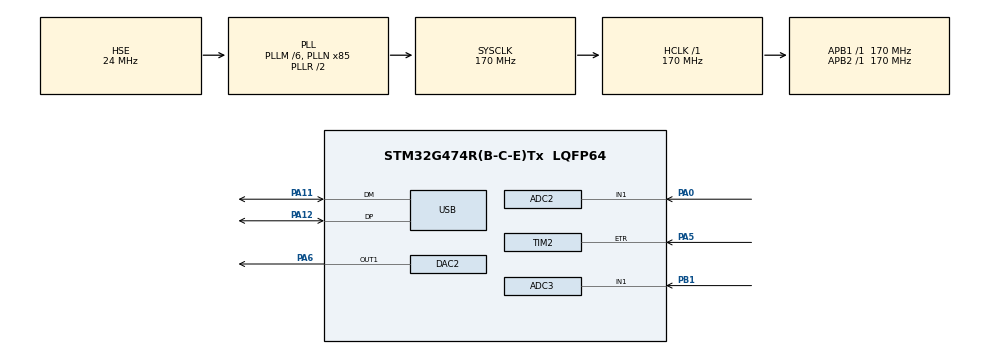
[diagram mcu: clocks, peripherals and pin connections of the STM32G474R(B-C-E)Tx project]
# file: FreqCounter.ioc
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ADC2.Channel-1\#ChannelRegularConversion=ADC_CHANNEL_1
ADC2.ContinuousConvMode=ENABLE
ADC2.DMAContinuousRequests=ENABLE
ADC2.EOCSelection=ADC_EOC_SEQ_CONV
ADC2.NbrOfConversion=1
ADC2.NbrOfConversionFlag=1
ADC2.OffsetNumber-1\#ChannelRegularConversion=ADC_OFFSET_NONE
ADC2.Rank-1\#ChannelRegularConversion=1
ADC2.SamplingTime-1\#ChannelRegularConversion=ADC_SAMPLETIME_12CYCLES_5
ADC3.Channel-2\#ChannelRegularConversion=ADC_CHANNEL_1
ADC3.ContinuousConvMode=ENABLE
ADC3.DMAContinuousRequests=ENABLE
ADC3.EOCSelection=ADC_EOC_SEQ_CONV
ADC3.NbrOfConversionFlag=1
ADC3.OffsetNumber-2\#ChannelRegularConversion=ADC_OFFSET_NONE
ADC3.Rank-2\#ChannelRegularConversion=1
ADC3.SamplingTime-2\#ChannelRegularConversion=ADC_SAMPLETIME_2CYCLES_5
ADC3.master=1
Dma.ADC2.0.Direction=DMA_PERIPH_TO_MEMORY
Dma.ADC2.0.EventEnable=DISABLE
Dma.ADC2.0.Instance=DMA1_Channel1
Dma.ADC2.0.MemDataAlignment=DMA_MDATAALIGN_WORD
Dma.ADC2.0.MemInc=DMA_MINC_ENABLE
Dma.ADC2.0.Mode=DMA_CIRCULAR
Dma.ADC2.0.PeriphDataAlignment=DMA_PDATAALIGN_WORD
Dma.ADC2.0.PeriphInc=DMA_PINC_DISABLE
Dma.ADC2.0.Polarity=HAL_DMAMUX_REQ_GEN_RISING
Dma.ADC2.0.Priority=DMA_PRIORITY_LOW
Dma.ADC2.0.RequestNumber=1
Dma.ADC2.0.SignalID=NONE
Dma.ADC2.0.SyncEnable=DISABLE
Dma.ADC2.0.SyncPolarity=HAL_DMAMUX_SYNC_NO_EVENT
Dma.ADC2.0.SyncRequestNumber=1
Dma.ADC2.0.SyncSignalID=NONE
Dma.ADC3.1.Direction=DMA_PERIPH_TO_MEMORY
Dma.ADC3.1.EventEnable=DISABLE
Dma.ADC3.1.Instance=DMA1_Channel2
Dma.ADC3.1.MemDataAlignment=DMA_MDATAALIGN_HALFWORD
Dma.ADC3.1.MemInc=DMA_MINC_ENABLE
Dma.ADC3.1.Mode=DMA_CIRCULAR
Dma.ADC3.1.PeriphDataAlignment=DMA_PDATAALIGN_HALFWORD
Dma.ADC3.1.PeriphInc=DMA_PINC_DISABLE
Dma.ADC3.1.Polarity=HAL_DMAMUX_REQ_GEN_RISING
Dma.ADC3.1.Priority=DMA_PRIORITY_LOW
Dma.ADC3.1.RequestNumber=1
Dma.ADC3.1.SignalID=NONE
Dma.ADC3.1.SyncEnable=DISABLE
Dma.ADC3.1.SyncPolarity=HAL_DMAMUX_SYNC_NO_EVENT
Dma.ADC3.1.SyncRequestNumber=1
Dma.ADC3.1.SyncSignalID=NONE
Dma.Request0=ADC2
Dma.Request1=ADC3
Mcu.Family=STM32G4
Mcu.Name=STM32G474R(B-C-E)Tx
Mcu.Package=LQFP64
NVIC.DMA1_Channel1_IRQn=true\:0\:0\:false\:false\:true\:false\:true\:true
NVIC.DMA1_Channel2_IRQn=true\:0\:0\:false\:false\:true\:false\:true\:true
NVIC.PriorityGroup=NVIC_PRIORITYGROUP_4
NVIC.TIM5_IRQn=true\:0\:0\:false\:false\:true\:true\:true\:true
NVIC.USB_LP_IRQn=true\:0\:0\:false\:false\:true\:false\:true\:true
PA0.Mode=IN1-Single-Ended
PA0.Signal=ADC2_IN1
PA11.Mode=Device
PA11.Signal=USB_DM
PA12.Mode=Device
PA12.Signal=USB_DP
PA5.Signal=S_TIM2_ETR
PA6.Signal=COMP_DAC21_group
PB1.Mode=IN1-Single-Ended
PB1.Signal=ADC3_IN1
PF0-OSC_IN.Mode=HSE-External-Oscillator
PF0-OSC_IN.Signal=RCC_OSC_IN
PF1-OSC_OUT.Mode=HSE-External-Oscillator
PF1-OSC_OUT.Signal=RCC_OSC_OUT
ProjectManager.HeapSize=0x200
ProjectManager.StackSize=0x400
ProjectManager.TargetToolchain=STM32CubeIDE
RCC.ADC12Freq_Value=170000000
RCC.ADC345Freq_Value=170000000
RCC.AHBFreq_Value=170000000
RCC.APB1Freq_Value=170000000
RCC.APB1TimFreq_Value=170000000
RCC.APB2Freq_Value=170000000
RCC.APB2TimFreq_Value=170000000
RCC.CK48CLockSelection=RCC_USBCLKSOURCE_HSI48
RCC.CortexFreq_Value=170000000
RCC.EXTERNAL_CLOCK_VALUE=12288000
RCC.HCLKFreq_Value=170000000
RCC.HSE_VALUE=24000000
RCC.HSI48_VALUE=48000000
RCC.HSI_VALUE=16000000
RCC.LSE_VALUE=32768
RCC.PLLM=RCC_PLLM_DIV6
RCC.PLLN=85
RCC.PLLSourceVirtual=RCC_PLLSOURCE_HSE
RCC.SYSCLKFreq_VALUE=170000000
RCC.SYSCLKSource=RCC_SYSCLKSOURCE_PLLCLK
RCC.USBFreq_Value=48000000
RCC.VCOOutputFreq_Value=340000000
SH.COMP_DAC21_group.0=DAC2_OUT1,DAC_OUT1
SH.S_TIM2_ETR.0=TIM2_ETR,ClockSourceETR_Mode2
TIM5.PeriodNoDither=170000000
USB_DEVICE.CLASS_NAME_FS=CDC
USB_DEVICE.VirtualMode=Cdc
USB_DEVICE.VirtualModeFS=Cdc_FS
VP_TIM5_VS_ClockSourceINT.Mode=Internal
VP_USB_DEVICE_VS_USB_DEVICE_CDC_FS.Mode=CDC_FS
board=custom

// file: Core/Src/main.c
/* USER CODE BEGIN Header */
/**
  ******************************************************************************
  * @file           : main.c
  * @brief          : Main program body
  ******************************************************************************
  * @attention
  *
  * Copyright (c) 2023 STMicroelectronics.
  * All rights reserved.
  *
  * This software is licensed under terms that can be found in the LICENSE file
  * in the root directory of this software component.
  * If no LICENSE file comes with this software, it is provided AS-IS.
  *
  ******************************************************************************
  */
/* USER CODE END Header */
#include "main.h"
#include "usb_device.h"

/* USER CODE BEGIN Includes */
#include "usbd_cdc_if.h"

#include "stm32g4xx_hal.h"
#include <string.h>
#include <stdio.h>
/* USER CODE END Includes */

/* USER CODE BEGIN PD */

#define ADC_BUFF 7000
//#define AVG_ARRAY_SIZE 100

/* USER CODE END PD */

ADC_HandleTypeDef hadc2;
ADC_HandleTypeDef hadc3;
DMA_HandleTypeDef hdma_adc2;
DMA_HandleTypeDef hdma_adc3;

DAC_HandleTypeDef hdac2;

TIM_HandleTypeDef htim2;
TIM_HandleTypeDef htim5;

/* USER CODE BEGIN PV */
volatile uint32_t squareWaveFrequency = 0;
__IO uint32_t ADCVal[ADC_BUFF];
__IO uint16_t ADC3Val[ADC_BUFF];
//float allAvg[AVG_ARRAY_SIZE];
float ADCAvg;
float ADC3Avg;
float voltageValue;
__IO uint8_t ADC_done;
__IO uint8_t ADC3_done;
__IO uint8_t TIM5_done;
int16_t DAC_Value;
//uint32_t avg_index;
uint8_t init_values[8]= {0};
uint32_t error;

/* USER CODE END PV */

void SystemClock_Config(void);
static void MX_GPIO_Init(void);
static void MX_DMA_Init(void);
static void MX_TIM2_Init(void);
static void MX_TIM5_Init(void);
static void MX_ADC2_Init(void);
static void MX_DAC2_Init(void);
static void MX_ADC3_Init(void);
/* USER CODE BEGIN PFP */
void HAL_TIM_PeriodElapsedCallback(TIM_HandleTypeDef *htim);
static float ADC_avg(uint32_t *values);
static float ADC_avg3(uint16_t *values);
//static float Avg_avg(uint32_t *values);
//void HAL_TIM_IC_CaptureCallback(TIM_HandleTypeDef *htim);
/* USER CODE END PFP */

int main(void)
{

  /* MCU Configuration--------------------------------------------------------*/

  /* Reset of all peripherals, Initializes the Flash interface and the Systick. */
  HAL_Init();

  /* Configure the system clock */
  SystemClock_Config();

  /* Initialize all configured peripherals */
  MX_GPIO_Init();
  MX_DMA_Init();
  MX_TIM2_Init();
  MX_TIM5_Init();
  MX_ADC2_Init();
  MX_USB_Device_Init();
  MX_DAC2_Init();
  MX_ADC3_Init();
  /* USER CODE BEGIN 2 */

  HAL_TIM_Base_Start_IT(&htim5);
  HAL_TIM_Base_Start(&htim2);
  ADC_done = 0;
  ADC3_done = 0;
  TIM5_done = 0;
  ADCAvg = 0;
  ADC3Avg = 0;
  voltageValue = 0;
  error=0;
//  avg_index = 0;
//  Avg_avg(allAvg);

  //countUp = 0;

  HAL_DAC_Start(&hdac2, DAC_CHANNEL_1);
  HAL_ADC_Start_DMA(&hadc2, (uint32_t*)ADCVal, ADC_BUFF);
  if (HAL_ADC_Start_DMA(&hadc3, (uint16_t*)ADC3Val, ADC_BUFF)!=HAL_OK)
	  error=3;
  /* USER CODE END 2 */

  /* Infinite loop */
  while (1)
  {

    /* USER CODE BEGIN 3 */

	  // Callibrate and Send
	if (receivedValue==4100){
		DAC_Value = (2/3.3)*4095;
		HAL_DAC_SetValue(&hdac2, DAC_CHANNEL_1, DAC_ALIGN_12B_R, (uint32_t)DAC_Value);
		do{
			receivedValue = 0;
			  // process ADC data
			if (ADC_done){
				ADC_done = 0;
				ADCAvg = ADC_avg(ADCVal);
				DAC_Value += (2048-ADCAvg)/10;
				//DAC_Value += (2048-DAC_Value)/10;
				HAL_DAC_SetValue(&hdac2, DAC_CHANNEL_1, DAC_ALIGN_12B_R, (uint32_t)DAC_Value);
				HAL_ADC_Start_DMA(&hadc2, (uint32_t*)ADCVal, ADC_BUFF);
			}
		} while(ADCAvg<2040 || ADCAvg>2056);

		for (uint i = 0; i<2; i++){
			init_values[i] = (uint8_t)((DAC_Value >> (8*i)) & 0xFF);
		}
		uint8_t *bytes = (uint8_t *)&ADCAvg;
		for (uint i = 0; i < 4; i++) {
				init_values[i+4] = bytes[i];
		}
		if (ADCAvg>2040 && ADCAvg<2056){
			CDC_Transmit_FS(init_values, 8);
			for (uint i = 0; i<8;i++ ){
				init_values[i] = 0;
			}
		}
	}

	// Check and Send
	if (receivedValue>4100){
		DAC_Value = receivedValue - 4200;
		HAL_DAC_SetValue(&hdac2, DAC_CHANNEL_1, DAC_ALIGN_12B_R, (uint32_t)DAC_Value);
		if(ADC_done) {
		  ADC_done = 0;
		  receivedValue = 0;
		  // process ADC data
		  HAL_ADC_Start_DMA(&hadc2, (uint32_t*)ADCVal, ADC_BUFF);
	  }
		uint8_t *bytes2 = (uint8_t *)&DAC_Value;
		for (uint i = 0; i<2; i++){
			init_values[i] = bytes2[i];
		}
		uint8_t *bytes = (uint8_t *)&ADCAvg;
		for (uint i = 0; i < 4; i++) {
			init_values[i+4] = bytes[i];
		}
		CDC_Transmit_FS(init_values, 8);
	}

    //Set value
	if (receivedValue < 4096 && receivedValue>0){
		  DAC_Value = (int16_t) receivedValue;
		  HAL_DAC_SetValue(&hdac2, DAC_CHANNEL_1, DAC_ALIGN_12B_R, (uint32_t)DAC_Value);
		  receivedValue = 0;
	  }

//	if (ADC_done){
//		ADC_done = 0;
//		HAL_ADC_Start_DMA(&hadc2, (uint32_t*)ADCVal, ADC_BUFF);
//		ADCAvg = ADC_avg(ADCVal);
//		allAvg[avg_index] = ADCAvg;
//		avg_index++;
//	}

	  if (TIM5_done){
		TIM5_done = 0;
		uint8_t data[8];
		ADCAvg = 0;
		ADC3Avg = 0;
		for (uint i = 0; i<4; i++){
			data[i] = (uint8_t)((squareWaveFrequency >> (8*i)) & 0xFF);
		}
//        count++;
		//CDC_Transmit_FS((uint8_t*)&squareWaveFrequency,sizeof(squareWaveFrequency));
		if (ADC_done){
			ADC_done = 0;
			HAL_ADC_Start_DMA(&hadc2, (uint32_t*)ADCVal, ADC_BUFF);
			ADCAvg = ADC_avg(ADCVal);
			voltageValue = ADCAvg/4096*3.3;
		}
//		ADCAvg = Avg_avg(allAvg);
//		avg_index = 0;

		if (ADC3_done){
			ADC3_done = 0;
			HAL_ADC_Start_DMA(&hadc3, (uint16_t*)ADC3Val, ADC_BUFF);
			ADC3Avg = ADC_avg3(ADC3Val);

		}
		uint8_t *bytes = (uint8_t *)&ADCAvg;
		for (uint i = 0; i < 4; i++) {
				data[i+4] = bytes[i];
		}
		CDC_Transmit_FS(data, 8);
	  }

  }
  /* USER CODE END 3 */
}

void SystemClock_Config(void)
{
  RCC_OscInitTypeDef RCC_OscInitStruct = {0};
  RCC_ClkInitTypeDef RCC_ClkInitStruct = {0};

  /** Configure the main internal regulator output voltage
  */
  HAL_PWREx_ControlVoltageScaling(PWR_REGULATOR_VOLTAGE_SCALE1_BOOST);

  /** Initializes the RCC Oscillators according to the specified parameters
  * in the RCC_OscInitTypeDef structure.
  */
  RCC_OscInitStruct.OscillatorType = RCC_OSCILLATORTYPE_HSI48|RCC_OSCILLATORTYPE_HSE;
  RCC_OscInitStruct.HSEState = RCC_HSE_ON;
  RCC_OscInitStruct.HSI48State = RCC_HSI48_ON;
  RCC_OscInitStruct.PLL.PLLState = RCC_PLL_ON;
  RCC_OscInitStruct.PLL.PLLSource = RCC_PLLSOURCE_HSE;
  RCC_OscInitStruct.PLL.PLLM = RCC_PLLM_DIV6;
  RCC_OscInitStruct.PLL.PLLN = 85;
  RCC_OscInitStruct.PLL.PLLP = RCC_PLLP_DIV2;
  RCC_OscInitStruct.PLL.PLLQ = RCC_PLLQ_DIV2;
  RCC_OscInitStruct.PLL.PLLR = RCC_PLLR_DIV2;
  if (HAL_RCC_OscConfig(&RCC_OscInitStruct) != HAL_OK)
  {
    Error_Handler();
  }

  /** Initializes the CPU, AHB and APB buses clocks
  */
  RCC_ClkInitStruct.ClockType = RCC_CLOCKTYPE_HCLK|RCC_CLOCKTYPE_SYSCLK
                              |RCC_CLOCKTYPE_PCLK1|RCC_CLOCKTYPE_PCLK2;
  RCC_ClkInitStruct.SYSCLKSource = RCC_SYSCLKSOURCE_PLLCLK;
  RCC_ClkInitStruct.AHBCLKDivider = RCC_SYSCLK_DIV1;
  RCC_ClkInitStruct.APB1CLKDivider = RCC_HCLK_DIV1;
  RCC_ClkInitStruct.APB2CLKDivider = RCC_HCLK_DIV1;

  if (HAL_RCC_ClockConfig(&RCC_ClkInitStruct, FLASH_LATENCY_4) != HAL_OK)
  {
    Error_Handler();
  }
}

static void MX_ADC2_Init(void)
{

  ADC_ChannelConfTypeDef sConfig = {0};

  /** Common config
  */
  hadc2.Instance = ADC2;
  hadc2.Init.ClockPrescaler = ADC_CLOCK_SYNC_PCLK_DIV4;
  hadc2.Init.Resolution = ADC_RESOLUTION_12B;
  hadc2.Init.DataAlign = ADC_DATAALIGN_RIGHT;
  hadc2.Init.GainCompensation = 0;
  hadc2.Init.ScanConvMode = ADC_SCAN_DISABLE;
  hadc2.Init.EOCSelection = ADC_EOC_SEQ_CONV;
  hadc2.Init.LowPowerAutoWait = DISABLE;
  hadc2.Init.ContinuousConvMode = ENABLE;
  hadc2.Init.NbrOfConversion = 1;
  hadc2.Init.DiscontinuousConvMode = DISABLE;
  hadc2.Init.ExternalTrigConv = ADC_SOFTWARE_START;
  hadc2.Init.ExternalTrigConvEdge = ADC_EXTERNALTRIGCONVEDGE_NONE;
  hadc2.Init.DMAContinuousRequests = ENABLE;
  hadc2.Init.Overrun = ADC_OVR_DATA_PRESERVED;
  hadc2.Init.OversamplingMode = DISABLE;
  if (HAL_ADC_Init(&hadc2) != HAL_OK)
  {
    Error_Handler();
  }

  /** Configure Regular Channel
  */
  sConfig.Channel = ADC_CHANNEL_1;
  sConfig.Rank = ADC_REGULAR_RANK_1;
  sConfig.SamplingTime = ADC_SAMPLETIME_12CYCLES_5;
  sConfig.SingleDiff = ADC_SINGLE_ENDED;
  sConfig.OffsetNumber = ADC_OFFSET_NONE;
  sConfig.Offset = 0;
  if (HAL_ADC_ConfigChannel(&hadc2, &sConfig) != HAL_OK)
  {
    Error_Handler();
  }

}

static void MX_ADC3_Init(void)
{

  ADC_MultiModeTypeDef multimode = {0};
  ADC_ChannelConfTypeDef sConfig = {0};

  /** Common config
  */
  hadc3.Instance = ADC3;
  hadc3.Init.ClockPrescaler = ADC_CLOCK_SYNC_PCLK_DIV4;
  hadc3.Init.Resolution = ADC_RESOLUTION_12B;
  hadc3.Init.DataAlign = ADC_DATAALIGN_RIGHT;
  hadc3.Init.GainCompensation = 0;
  hadc3.Init.ScanConvMode = ADC_SCAN_DISABLE;
  hadc3.Init.EOCSelection = ADC_EOC_SEQ_CONV;
  hadc3.Init.LowPowerAutoWait = DISABLE;
  hadc3.Init.ContinuousConvMode = ENABLE;
  hadc3.Init.NbrOfConversion = 1;
  hadc3.Init.DiscontinuousConvMode = DISABLE;
  hadc3.Init.ExternalTrigConv = ADC_SOFTWARE_START;
  hadc3.Init.ExternalTrigConvEdge = ADC_EXTERNALTRIGCONVEDGE_NONE;
  hadc3.Init.DMAContinuousRequests = ENABLE;
  hadc3.Init.Overrun = ADC_OVR_DATA_PRESERVED;
  hadc3.Init.OversamplingMode = DISABLE;
  if (HAL_ADC_Init(&hadc3) != HAL_OK)
  {
    Error_Handler();
  }

  /** Configure the ADC multi-mode
  */
  multimode.Mode = ADC_MODE_INDEPENDENT;
  if (HAL_ADCEx_MultiModeConfigChannel(&hadc3, &multimode) != HAL_OK)
  {
    Error_Handler();
  }

  /** Configure Regular Channel
  */
  sConfig.Channel = ADC_CHANNEL_1;
  sConfig.Rank = ADC_REGULAR_RANK_1;
  sConfig.SamplingTime = ADC_SAMPLETIME_2CYCLES_5;
  sConfig.SingleDiff = ADC_SINGLE_ENDED;
  sConfig.OffsetNumber = ADC_OFFSET_NONE;
  sConfig.Offset = 0;
  if (HAL_ADC_ConfigChannel(&hadc3, &sConfig) != HAL_OK)
  {
    Error_Handler();
  }

}

static void MX_DAC2_Init(void)
{

  DAC_ChannelConfTypeDef sConfig = {0};

  /** DAC Initialization
  */
  hdac2.Instance = DAC2;
  if (HAL_DAC_Init(&hdac2) != HAL_OK)
  {
    Error_Handler();
  }

  /** DAC channel OUT1 config
  */
  sConfig.DAC_HighFrequency = DAC_HIGH_FREQUENCY_INTERFACE_MODE_AUTOMATIC;
  sConfig.DAC_DMADoubleDataMode = DISABLE;
  sConfig.DAC_SignedFormat = DISABLE;
  sConfig.DAC_SampleAndHold = DAC_SAMPLEANDHOLD_DISABLE;
  sConfig.DAC_Trigger = DAC_TRIGGER_NONE;
  sConfig.DAC_Trigger2 = DAC_TRIGGER_NONE;
  sConfig.DAC_OutputBuffer = DAC_OUTPUTBUFFER_ENABLE;
  sConfig.DAC_ConnectOnChipPeripheral = DAC_CHIPCONNECT_EXTERNAL;
  sConfig.DAC_UserTrimming = DAC_TRIMMING_FACTORY;
  if (HAL_DAC_ConfigChannel(&hdac2, &sConfig, DAC_CHANNEL_1) != HAL_OK)
  {
    Error_Handler();
  }

}

static void MX_TIM2_Init(void)
{

  TIM_ClockConfigTypeDef sClockSourceConfig = {0};
  TIM_MasterConfigTypeDef sMasterConfig = {0};

  htim2.Instance = TIM2;
  htim2.Init.Prescaler = 0;
  htim2.Init.CounterMode = TIM_COUNTERMODE_UP;
  htim2.Init.Period = 4.294967295E9;
  htim2.Init.ClockDivision = TIM_CLOCKDIVISION_DIV1;
  htim2.Init.AutoReloadPreload = TIM_AUTORELOAD_PRELOAD_DISABLE;
  if (HAL_TIM_Base_Init(&htim2) != HAL_OK)
  {
    Error_Handler();
  }
  sClockSourceConfig.ClockSource = TIM_CLOCKSOURCE_ETRMODE2;
  sClockSourceConfig.ClockPolarity = TIM_CLOCKPOLARITY_NONINVERTED;
  sClockSourceConfig.ClockPrescaler = TIM_CLOCKPRESCALER_DIV1;
  sClockSourceConfig.ClockFilter = 0;
  if (HAL_TIM_ConfigClockSource(&htim2, &sClockSourceConfig) != HAL_OK)
  {
    Error_Handler();
  }
  sMasterConfig.MasterOutputTrigger = TIM_TRGO_RESET;
  sMasterConfig.MasterSlaveMode = TIM_MASTERSLAVEMODE_DISABLE;
  if (HAL_TIMEx_MasterConfigSynchronization(&htim2, &sMasterConfig) != HAL_OK)
  {
    Error_Handler();
  }

}

static void MX_TIM5_Init(void)
{

  TIM_ClockConfigTypeDef sClockSourceConfig = {0};
  TIM_MasterConfigTypeDef sMasterConfig = {0};

  htim5.Instance = TIM5;
  htim5.Init.Prescaler = 0;
  htim5.Init.CounterMode = TIM_COUNTERMODE_UP;
  htim5.Init.Period = 1.7E8;
  htim5.Init.ClockDivision = TIM_CLOCKDIVISION_DIV1;
  htim5.Init.AutoReloadPreload = TIM_AUTORELOAD_PRELOAD_DISABLE;
  if (HAL_TIM_Base_Init(&htim5) != HAL_OK)
  {
    Error_Handler();
  }
  sClockSourceConfig.ClockSource = TIM_CLOCKSOURCE_INTERNAL;
  if (HAL_TIM_ConfigClockSource(&htim5, &sClockSourceConfig) != HAL_OK)
  {
    Error_Handler();
  }
  sMasterConfig.MasterOutputTrigger = TIM_TRGO_RESET;
  sMasterConfig.MasterSlaveMode = TIM_MASTERSLAVEMODE_DISABLE;
  if (HAL_TIMEx_MasterConfigSynchronization(&htim5, &sMasterConfig) != HAL_OK)
  {
    Error_Handler();
  }

}

static void MX_DMA_Init(void)
{

  /* DMA controller clock enable */
  __HAL_RCC_DMAMUX1_CLK_ENABLE();
  __HAL_RCC_DMA1_CLK_ENABLE();

  /* DMA interrupt init */
  /* DMA1_Channel1_IRQn interrupt configuration */
  HAL_NVIC_SetPriority(DMA1_Channel1_IRQn, 0, 0);
  HAL_NVIC_EnableIRQ(DMA1_Channel1_IRQn);
  /* DMA1_Channel2_IRQn interrupt configuration */
  HAL_NVIC_SetPriority(DMA1_Channel2_IRQn, 0, 0);
  HAL_NVIC_EnableIRQ(DMA1_Channel2_IRQn);

}

static void MX_GPIO_Init(void)
{

  /* GPIO Ports Clock Enable */
  __HAL_RCC_GPIOF_CLK_ENABLE();
  __HAL_RCC_GPIOA_CLK_ENABLE();
  __HAL_RCC_GPIOB_CLK_ENABLE();

}

/* USER CODE BEGIN 4 */

void HAL_ADC_ConvCpltCallback(ADC_HandleTypeDef * AdcHandle) {
	if (AdcHandle->Instance == ADC2){
		ADC_done = 1;
		HAL_ADC_Stop_DMA(&hadc2);
	} if (AdcHandle->Instance == ADC3){
		ADC3_done = 1;
		HAL_ADC_Stop_DMA(&hadc3);
	}
}

		/*void HAL_TIM_IC_CaptureCallback(TIM_HandleTypeDef *htim) {
			if (htim->Instance == TIM2) {
				testvar3++;
				// External square wave frequency measurement
				//squareWaveFrequency = HAL_TIM_ReadCapturedValue(&htim2, TIM_CHANNEL_1);
				// Additional processing if needed
			}
		}*/

static float ADC_avg(uint32_t *values){
	uint32_t average = 0;
	for (uint i=0; i<ADC_BUFF;i++){
		average+=values[i];
	}
	return(average*1.0/ADC_BUFF);
}

static float ADC_avg3(uint16_t *values){
	uint32_t average = 0;
	for (uint i=0; i<ADC_BUFF;i++){
		average+=values[i];
	}
	return(average*1.0/ADC_BUFF);
}

//static float Avg_avg(uint32_t *values){
//	uint32_t average = 0;
//	uint32_t num = 0;
//	for (uint i=0; i<AVG_ARRAY_SIZE;i++){
//		if (values[i]>0){
//			average+=values[i];
//			num++;
//		}
//		values[i] = 0;
//	}
//	return(average*1.0/num);
//}

void HAL_TIM_PeriodElapsedCallback(TIM_HandleTypeDef *htim) {
    if (htim->Instance == TIM5) {
    		TIM5_done = 1;
    		squareWaveFrequency=__HAL_TIM_GET_COUNTER(&htim2)*(0.999962251);
    		__HAL_TIM_SET_COUNTER(&htim2, 0);
    		__HAL_TIM_SET_COUNTER(&htim5, 0);
    	}
    }
/* USER CODE END 4 */

void Error_Handler(void)
{
  __disable_irq();
  while (1)
  {
  }
}
